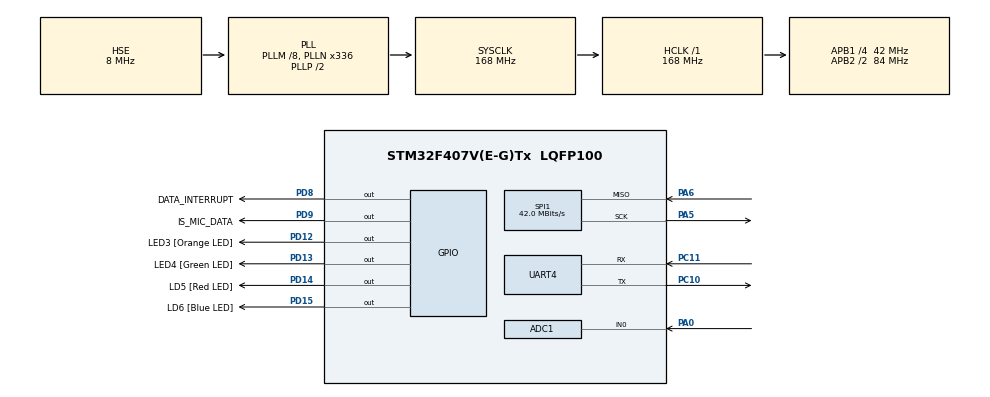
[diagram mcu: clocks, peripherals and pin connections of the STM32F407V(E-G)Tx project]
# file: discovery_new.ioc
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ADC1.Channel-17\#ChannelRegularConversion=ADC_CHANNEL_0
ADC1.ClockPrescaler=ADC_CLOCK_SYNC_PCLK_DIV4
ADC1.ContinuousConvMode=DISABLE
ADC1.DMAContinuousRequests=DISABLE
ADC1.DataAlign=ADC_DATAALIGN_RIGHT
ADC1.DiscontinuousConvMode=DISABLE
ADC1.EOCSelection=ADC_EOC_SEQ_CONV
ADC1.EnableAnalogWatchDog=false
ADC1.ExternalTrigConv=ADC_EXTERNALTRIGCONV_T2_TRGO
ADC1.ExternalTrigConvEdge=ADC_EXTERNALTRIGCONVEDGE_RISING
ADC1.InjNumberOfConversion=0
ADC1.NbrOfConversion=1
ADC1.NbrOfConversionFlag=1
ADC1.Rank-17\#ChannelRegularConversion=1
ADC1.Resolution=ADC_RESOLUTION_12B
ADC1.SamplingTime-17\#ChannelRegularConversion=ADC_SAMPLETIME_3CYCLES
ADC1.ScanConvMode=DISABLE
ADC1.master=1
Dma.ADC1.0.Direction=DMA_PERIPH_TO_MEMORY
Dma.ADC1.0.FIFOMode=DMA_FIFOMODE_DISABLE
Dma.ADC1.0.Instance=DMA2_Stream0
Dma.ADC1.0.MemDataAlignment=DMA_MDATAALIGN_WORD
Dma.ADC1.0.MemInc=DMA_MINC_ENABLE
Dma.ADC1.0.Mode=DMA_CIRCULAR
Dma.ADC1.0.PeriphDataAlignment=DMA_PDATAALIGN_WORD
Dma.ADC1.0.PeriphInc=DMA_PINC_DISABLE
Dma.ADC1.0.Priority=DMA_PRIORITY_LOW
Dma.Request0=ADC1
FREERTOS.Tasks01=defaultTask,0,128,StartDefaultTask,Default,NULL
Mcu.Family=STM32F4
Mcu.Name=STM32F407V(E-G)Tx
Mcu.Package=LQFP100
NVIC.DMA2_Stream0_IRQn=true\:5\:0\:false\:false\:true\:true\:false
NVIC.PriorityGroup=NVIC_PRIORITYGROUP_4
NVIC.TIM1_UP_TIM10_IRQn=true\:0\:0\:false\:false\:true\:false\:false
NVIC.TIM2_IRQn=true\:5\:0\:true\:false\:true\:true\:true
NVIC.TimeBase=TIM1_UP_TIM10_IRQn
NVIC.TimeBaseIP=TIM1
PA0-WKUP.Signal=ADCx_IN0
PA5.Mode=RX_Only_Simplex_Unidirect_Master
PA5.Signal=SPI1_SCK
PA6.Mode=RX_Only_Simplex_Unidirect_Master
PA6.Signal=SPI1_MISO
PC10.Mode=Asynchronous
PC10.Signal=UART4_TX
PC11.Mode=Asynchronous
PC11.Signal=UART4_RX
PD12.GPIO_Label=LED3 [Orange LED]
PD12.Signal=GPIO_Output
PD13.GPIO_Label=LED4 [Green LED]
PD13.Signal=GPIO_Output
PD14.GPIO_Label=LD5 [Red LED]
PD14.Signal=GPIO_Output
PD15.GPIO_Label=LD6 [Blue LED]
PD15.Signal=GPIO_Output
PD8.GPIO_Label=DATA_INTERRUPT
PD8.Signal=GPIO_Output
PD9.GPIO_Label=IS_MIC_DATA
PD9.Signal=GPIO_Output
PH0-OSC_IN.Mode=HSE-External-Oscillator
PH0-OSC_IN.Signal=RCC_OSC_IN
PH1-OSC_OUT.Mode=HSE-External-Oscillator
PH1-OSC_OUT.Signal=RCC_OSC_OUT
ProjectManager.HeapSize=0x200
ProjectManager.StackSize=0x400
ProjectManager.TargetToolchain=MDK-ARM V5
RCC.48MHZClocksFreq_Value=84000000
RCC.AHBFreq_Value=168000000
RCC.APB1CLKDivider=RCC_HCLK_DIV4
RCC.APB1Freq_Value=42000000
RCC.APB1TimFreq_Value=84000000
RCC.APB2CLKDivider=RCC_HCLK_DIV2
RCC.APB2Freq_Value=84000000
RCC.APB2TimFreq_Value=168000000
RCC.CortexFreq_Value=168000000
RCC.HCLKFreq_Value=168000000
RCC.HSE_VALUE=8000000
RCC.HSI_VALUE=16000000
RCC.LSE_VALUE=32768
RCC.PLLM=8
RCC.PLLN=336
RCC.PLLSourceVirtual=RCC_PLLSOURCE_HSE
RCC.SYSCLKFreq_VALUE=168000000
RCC.SYSCLKSource=RCC_SYSCLKSOURCE_PLLCLK
RCC.VCOOutputFreq_Value=336000000
SH.ADCx_IN0.0=ADC1_IN0,IN0
SPI1.CalculateBaudRate=42.0 MBits/s
SPI1.Direction=SPI_DIRECTION_2LINES_RXONLY
SPI1.Mode=SPI_MODE_MASTER
SPI1.VirtualType=VM_MASTER
TIM2.Period=5250
TIM2.Prescaler=0
TIM2.TIM_MasterOutputTrigger=TIM_TRGO_UPDATE
UART4.VirtualMode=Asynchronous
VP_FREERTOS_VS_ENABLE.Mode=Enabled
VP_SYS_VS_tim1.Mode=TIM1
VP_TIM2_VS_ClockSourceINT.Mode=Internal
board=discovery_new

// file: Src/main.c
/**
  ******************************************************************************
  * @file           : main.c
  * @brief          : Main program body
  ******************************************************************************
  * This notice applies to any and all portions of this file
  * that are not between comment pairs USER CODE BEGIN and
  * USER CODE END. Other portions of this file, whether
  * inserted by the user or by software development tools
  * are owned by their respective copyright owners.
  *
  * Copyright (c) 2018 STMicroelectronics International N.V.
  * All rights reserved.
  *
  * Redistribution and use in source and binary forms, with or without
  * modification, are permitted, provided that the following conditions are met:
  *
  * 1. Redistribution of source code must retain the above copyright notice,
  *    this list of conditions and the following disclaimer.
  * 2. Redistributions in binary form must reproduce the above copyright notice,
  *    this list of conditions and the following disclaimer in the documentation
  *    and/or other materials provided with the distribution.
  * 3. Neither the name of STMicroelectronics nor the names of other
  *    contributors to this software may be used to endorse or promote products
  *    derived from this software without specific written permission.
  * 4. This software, including modifications and/or derivative works of this
  *    software, must execute solely and exclusively on microcontroller or
  *    microprocessor devices manufactured by or for STMicroelectronics.
  * 5. Redistribution and use of this software other than as permitted under
  *    this license is void and will automatically terminate your rights under
  *    this license.
  *
  * THIS SOFTWARE IS PROVIDED BY STMICROELECTRONICS AND CONTRIBUTORS "AS IS"
  * AND ANY EXPRESS, IMPLIED OR STATUTORY WARRANTIES, INCLUDING, BUT NOT
  * LIMITED TO, THE IMPLIED WARRANTIES OF MERCHANTABILITY, FITNESS FOR A
  * PARTICULAR PURPOSE AND NON-INFRINGEMENT OF THIRD PARTY INTELLECTUAL PROPERTY
  * RIGHTS ARE DISCLAIMED TO THE FULLEST EXTENT PERMITTED BY LAW. IN NO EVENT
  * SHALL STMICROELECTRONICS OR CONTRIBUTORS BE LIABLE FOR ANY DIRECT, INDIRECT,
  * INCIDENTAL, SPECIAL, EXEMPLARY, OR CONSEQUENTIAL DAMAGES (INCLUDING, BUT NOT
  * LIMITED TO, PROCUREMENT OF SUBSTITUTE GOODS OR SERVICES; LOSS OF USE, DATA,
  * OR PROFITS; OR BUSINESS INTERRUPTION) HOWEVER CAUSED AND ON ANY THEORY OF
  * LIABILITY, WHETHER IN CONTRACT, STRICT LIABILITY, OR TORT (INCLUDING
  * NEGLIGENCE OR OTHERWISE) ARISING IN ANY WAY OUT OF THE USE OF THIS SOFTWARE,
  * EVEN IF ADVISED OF THE POSSIBILITY OF SUCH DAMAGE.
  *
  ******************************************************************************
  */
#include "main.h"
#include "stm32f4xx_hal.h"
#include "cmsis_os.h"
#include "adc.h"
#include "dma.h"
#include "spi.h"
#include "tim.h"
#include "usart.h"
#include "gpio.h"
#include "lis3dsh.h"

/* USER CODE BEGIN Includes */

#define MIC_BUFFER_SIZE 10000

/* USER CODE END Includes */

/* USER CODE BEGIN PV */
/* Private variables ---------------------------------------------------------*/

uint32_t mic_buffer[MIC_BUFFER_SIZE];

/* USER CODE END PV */

void SystemClock_Config(void);
void MX_FREERTOS_Init(void);

/* USER CODE BEGIN PFP */
/* Private function prototypes -----------------------------------------------*/
void initializeACC(void);
/* USER CODE END PFP */

int main(void)
{

  /* MCU Configuration----------------------------------------------------------*/

  /* Reset of all peripherals, Initializes the Flash interface and the Systick. */
  HAL_Init();

  /* Configure the system clock */
  SystemClock_Config();

  /* Initialize all configured peripherals */
  MX_GPIO_Init();
  MX_DMA_Init();
  MX_TIM2_Init();
  MX_ADC1_Init();
  MX_UART4_Init();
  MX_SPI1_Init();
  /* USER CODE BEGIN 2 */
	initializeACC();
	HAL_TIM_Base_Start(&htim2);
	HAL_TIM_Base_Start_DMA(&htim2, mic_buffer, MIC_BUFFER_SIZE);
//	HAL_UART_Transmit(&huart4, buffer, sizeof(buffer), HAL_MAX_DELAY);
//
//	static uint8_t receive_buffer[3] = {0, 0, 0};
//	HAL_UART_Receive(&huart4, receive_buffer, sizeof(receive_buffer), HAL_MAX_DELAY);
//	HAL_GPIO_WritePin(LED_BLUE_GPIO_Port, LED_BLUE_Pin, GPIO_PIN_SET);
//
//	HAL_UART_Receive_IT(&huart4, receive_buffer, sizeof(receive_buffer));

  /* USER CODE END 2 */

  /* Call init function for freertos objects (in freertos.c) */
  MX_FREERTOS_Init();

  /* Start scheduler */
  osKernelStart();

  /* We should never get here as control is now taken by the scheduler */

  /* Infinite loop */
  while (1)
  {

  }

}

void SystemClock_Config(void)
{

  RCC_OscInitTypeDef RCC_OscInitStruct;
  RCC_ClkInitTypeDef RCC_ClkInitStruct;

    /**Configure the main internal regulator output voltage
    */
  __HAL_RCC_PWR_CLK_ENABLE();

  __HAL_PWR_VOLTAGESCALING_CONFIG(PWR_REGULATOR_VOLTAGE_SCALE1);

    /**Initializes the CPU, AHB and APB busses clocks
    */
  RCC_OscInitStruct.OscillatorType = RCC_OSCILLATORTYPE_HSE;
  RCC_OscInitStruct.HSEState = RCC_HSE_ON;
  RCC_OscInitStruct.PLL.PLLState = RCC_PLL_ON;
  RCC_OscInitStruct.PLL.PLLSource = RCC_PLLSOURCE_HSE;
  RCC_OscInitStruct.PLL.PLLM = 8;
  RCC_OscInitStruct.PLL.PLLN = 336;
  RCC_OscInitStruct.PLL.PLLP = RCC_PLLP_DIV2;
  RCC_OscInitStruct.PLL.PLLQ = 4;
  if (HAL_RCC_OscConfig(&RCC_OscInitStruct) != HAL_OK)
  {
    _Error_Handler(__FILE__, __LINE__);
  }

    /**Initializes the CPU, AHB and APB busses clocks
    */
  RCC_ClkInitStruct.ClockType = RCC_CLOCKTYPE_HCLK|RCC_CLOCKTYPE_SYSCLK
                              |RCC_CLOCKTYPE_PCLK1|RCC_CLOCKTYPE_PCLK2;
  RCC_ClkInitStruct.SYSCLKSource = RCC_SYSCLKSOURCE_PLLCLK;
  RCC_ClkInitStruct.AHBCLKDivider = RCC_SYSCLK_DIV1;
  RCC_ClkInitStruct.APB1CLKDivider = RCC_HCLK_DIV4;
  RCC_ClkInitStruct.APB2CLKDivider = RCC_HCLK_DIV2;

  if (HAL_RCC_ClockConfig(&RCC_ClkInitStruct, FLASH_LATENCY_5) != HAL_OK)
  {
    _Error_Handler(__FILE__, __LINE__);
  }

    /**Configure the Systick interrupt time
    */
  HAL_SYSTICK_Config(HAL_RCC_GetHCLKFreq()/1000);

    /**Configure the Systick
    */
  HAL_SYSTICK_CLKSourceConfig(SYSTICK_CLKSOURCE_HCLK);

  /* SysTick_IRQn interrupt configuration */
  HAL_NVIC_SetPriority(SysTick_IRQn, 15, 0);
}

/* USER CODE BEGIN 4 */

void initializeACC(void){
	LIS3DSH_InitTypeDef Acc_instance;
	Acc_instance.Axes_Enable				= LIS3DSH_XYZ_ENABLE;
	Acc_instance.AA_Filter_BW				= LIS3DSH_AA_BW_50;
	Acc_instance.Full_Scale					= LIS3DSH_FULLSCALE_2;
	Acc_instance.Power_Mode_Output_DataRate		= LIS3DSH_DATARATE_100;
	Acc_instance.Self_Test					= LIS3DSH_SELFTEST_NORMAL;
	Acc_instance.Continous_Update   = LIS3DSH_ContinousUpdate_Disabled;

	LIS3DSH_Init(&Acc_instance);

	/* Enabling interrupt conflicts with push button
  ACC_Interrupt_Config.Dataready_Interrupt	= LIS3DSH_DATA_READY_INTERRUPT_ENABLED;
	ACC_Interrupt_Config.Interrupt_signal			= LIS3DSH_ACTIVE_HIGH_INTERRUPT_SIGNAL;
	ACC_Interrupt_Config.Interrupt_type				= LIS3DSH_INTERRUPT_REQUEST_PULSED;

	LIS3DSH_DataReadyInterruptConfig(&ACC_Interrupt_Config);
	*/
}

/* USER CODE END 4 */

void HAL_TIM_PeriodElapsedCallback(TIM_HandleTypeDef *htim)
{
  if (htim->Instance == TIM1) {
    HAL_IncTick();
  }
}

void _Error_Handler(char *file, int line)
{
  while(1)
  {
  }
}

/************************ (C) COPYRIGHT STMicroelectronics *****END OF FILE****/

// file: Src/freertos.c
/**
  ******************************************************************************
  * File Name          : freertos.c
  * Description        : Code for freertos applications
  ******************************************************************************
  * This notice applies to any and all portions of this file
  * that are not between comment pairs USER CODE BEGIN and
  * USER CODE END. Other portions of this file, whether
  * inserted by the user or by software development tools
  * are owned by their respective copyright owners.
  *
  * Copyright (c) 2018 STMicroelectronics International N.V.
  * All rights reserved.
  *
  * Redistribution and use in source and binary forms, with or without
  * modification, are permitted, provided that the following conditions are met:
  *
  * 1. Redistribution of source code must retain the above copyright notice,
  *    this list of conditions and the following disclaimer.
  * 2. Redistributions in binary form must reproduce the above copyright notice,
  *    this list of conditions and the following disclaimer in the documentation
  *    and/or other materials provided with the distribution.
  * 3. Neither the name of STMicroelectronics nor the names of other
  *    contributors to this software may be used to endorse or promote products
  *    derived from this software without specific written permission.
  * 4. This software, including modifications and/or derivative works of this
  *    software, must execute solely and exclusively on microcontroller or
  *    microprocessor devices manufactured by or for STMicroelectronics.
  * 5. Redistribution and use of this software other than as permitted under
  *    this license is void and will automatically terminate your rights under
  *    this license.
  *
  * THIS SOFTWARE IS PROVIDED BY STMICROELECTRONICS AND CONTRIBUTORS "AS IS"
  * AND ANY EXPRESS, IMPLIED OR STATUTORY WARRANTIES, INCLUDING, BUT NOT
  * LIMITED TO, THE IMPLIED WARRANTIES OF MERCHANTABILITY, FITNESS FOR A
  * PARTICULAR PURPOSE AND NON-INFRINGEMENT OF THIRD PARTY INTELLECTUAL PROPERTY
  * RIGHTS ARE DISCLAIMED TO THE FULLEST EXTENT PERMITTED BY LAW. IN NO EVENT
  * SHALL STMICROELECTRONICS OR CONTRIBUTORS BE LIABLE FOR ANY DIRECT, INDIRECT,
  * INCIDENTAL, SPECIAL, EXEMPLARY, OR CONSEQUENTIAL DAMAGES (INCLUDING, BUT NOT
  * LIMITED TO, PROCUREMENT OF SUBSTITUTE GOODS OR SERVICES; LOSS OF USE, DATA,
  * OR PROFITS; OR BUSINESS INTERRUPTION) HOWEVER CAUSED AND ON ANY THEORY OF
  * LIABILITY, WHETHER IN CONTRACT, STRICT LIABILITY, OR TORT (INCLUDING
  * NEGLIGENCE OR OTHERWISE) ARISING IN ANY WAY OUT OF THE USE OF THIS SOFTWARE,
  * EVEN IF ADVISED OF THE POSSIBILITY OF SUCH DAMAGE.
  *
  ******************************************************************************
  */

#include "FreeRTOS.h"
#include "task.h"
#include "cmsis_os.h"

osThreadId defaultTaskHandle;
osThreadId blinkerTaskHandle;

void StartDefaultTask(void const * argument);
void StartBlinkerTask(void const * argument);

void MX_FREERTOS_Init(void); /* (MISRA C 2004 rule 8.1) */

/* Hook prototypes */

/* Init FreeRTOS */

void MX_FREERTOS_Init(void) {

  /* Create the thread(s) */
  /* definition and creation of defaultTask */
  osThreadDef(defaultTask, StartDefaultTask, osPriorityNormal, 0, 128);
  defaultTaskHandle = osThreadCreate(osThread(defaultTask), NULL);

  /* definition and creation of blinkerTask */
  osThreadDef(blinkerTask, StartBlinkerTask, osPriorityIdle, 0, 128);
  blinkerTaskHandle = osThreadCreate(osThread(blinkerTask), NULL);

}

/* StartDefaultTask function */
__weak void StartDefaultTask(void const * argument)
{

}

/* StartBlinkerTask function */
__weak void StartBlinkerTask(void const * argument)
{
}

/************************ (C) COPYRIGHT STMicroelectronics *****END OF FILE****/
